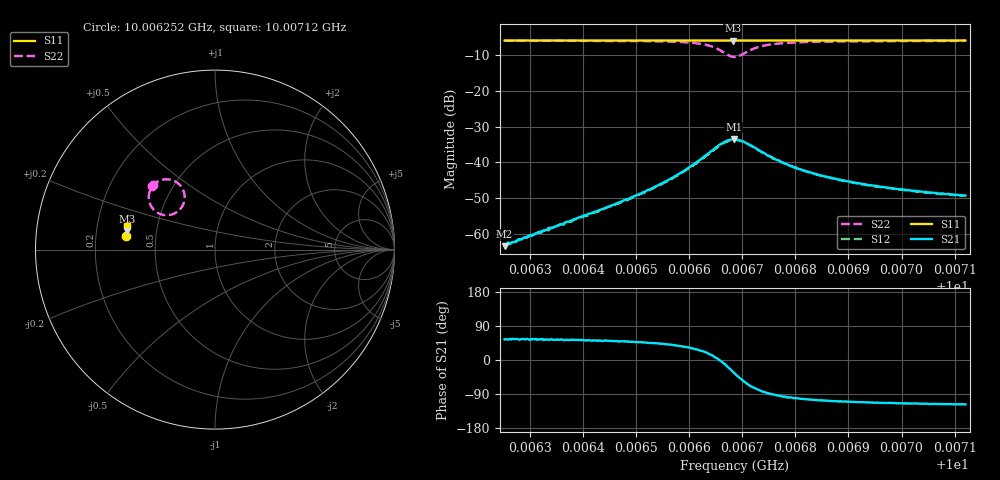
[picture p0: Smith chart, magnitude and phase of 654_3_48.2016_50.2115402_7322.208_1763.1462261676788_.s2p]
#  HZ  S  RI  R  50.00
! Rohde & Schwarz Vector Network Analyzer
! Rohde-Schwarz,ZNB20-2Port,1311601062101988,3.16
! Created: UTC 3/20/2024, 12:05:21 PM
! freq[Hz]  re:S11  im:S11  re:S21  im:S21  re:S12  im:S12  re:S22  im:S22
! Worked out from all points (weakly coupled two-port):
!   401 points, 10.006252 GHz to 10.00712 GHz, reference 50 ohm
!   highest |S21| = -33.48 dB at 10.006684 GHz (marker M1); lowest = -63.4 dB at 10.006252 GHz (marker M2)
!   lowest |S11| = -6.0 dB at 10.006682 GHz (marker M3), VSWR 3.02, Z = 16.7 + j4.63 ohm
!   |S11| at or under -10 dB: nowhere
!   |S22| runs from -10.5 to -6.0 dB; largest |S21 - S12| = 0.0017
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1.00062521e10  -0.4979 0.0763  0.000393 0.00055  0.000338 0.000616  -0.3535 0.3531
1.00062586e10  -0.4978 0.0768  0.000447 0.000619  0.000418 0.000586  -0.3529 0.3536
1.00063281e10  -0.4971 0.0814  0.000659 0.000915  0.000624 0.000957  -0.3468 0.3594
1.00063975e10  -0.4965 0.0859  0.00106 0.00137  0.000974 0.00144  -0.339 0.3662
1.00064865e10  -0.4958 0.0918  0.00207 0.00234  0.00191 0.00239  -0.3233 0.3772
1.00065429e10  -0.4951 0.0955  0.00354 0.00335  0.00325 0.00343  -0.3048 0.3856
1.00065863e10  -0.4944 0.0986  0.00595 0.00435  0.00554 0.0045  -0.2781 0.3916
1.00066341e10  -0.493 0.1016  0.0124 0.00413  0.0118 0.00452  -0.2162 0.3768
1.00066601e10  -0.492 0.103  0.0181 -0.00112  0.0177 6.42e-05  -0.1725 0.318
1.0006671e10  -0.4917 0.1033  0.0194 -0.00573  0.0191 -0.00409  -0.1705 0.2742
1.00066819e10  -0.4915 0.1035  0.018 -0.0107  0.0183 -0.00918  -0.1905 0.2294
1.0006684e10  -0.4916 0.1034  0.0177 -0.0117  0.0178 -0.0101  -0.1975 0.2217
1.00066862e10  -0.4916 0.1035  0.0169 -0.0124  0.0174 -0.011  -0.2048 0.2149
1.00067057e10  -0.492 0.1041  0.00967 -0.0163  0.0106 -0.0155  -0.2821 0.1923
1.00067209e10  -0.4924 0.1052  0.00497 -0.0157  0.00589 -0.0151  -0.326 0.2091
1.00067361e10  -0.4926 0.1062  0.00191 -0.0139  0.00281 -0.0136  -0.3503 0.2329
1.00067774e10  -0.4925 0.1092  -0.00112 -0.00984  -0.000533 -0.00988  -0.3686 0.2816
1.00068316e10  -0.4919 0.1129  -0.0018 -0.00688  -0.00146 -0.0069  -0.3665 0.3141
1.00069141e10  -0.4908 0.1181  -0.00187 -0.00484  -0.0016 -0.00485  -0.3584 0.3373
1.0006977e10  -0.4899 0.1224  -0.00174 -0.00406  -0.00155 -0.00407  -0.3526 0.3476
1.00070704e10  -0.4887 0.1283  -0.00163 -0.00329  -0.00143 -0.00335  -0.3452 0.3584
1.00071203e10  -0.4879 0.1314  -0.00158 -0.00307  -0.00139 -0.00308  -0.3418 0.3628
